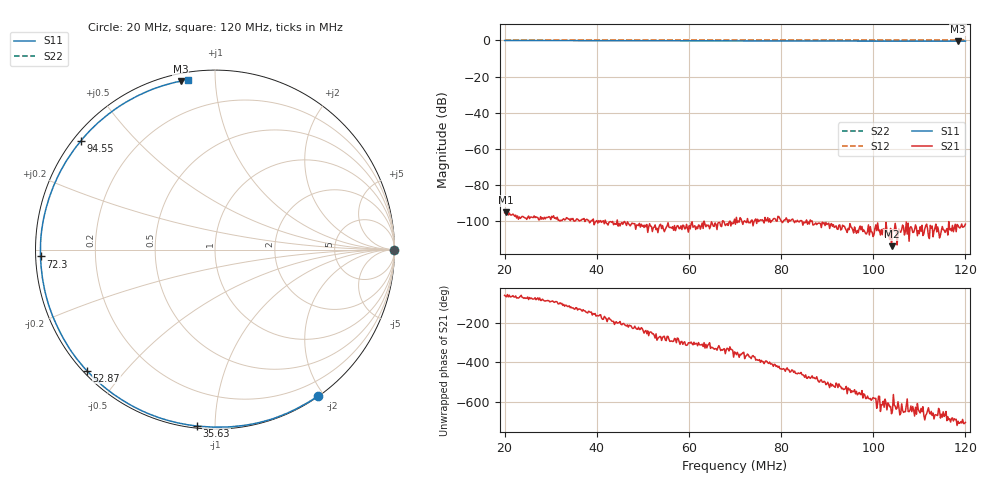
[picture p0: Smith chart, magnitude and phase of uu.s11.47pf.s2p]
! Anritsu VNA Master:  Model: MS2036C/10/77
! SN:  1601066
! /card0/usr/uu.s11.47pf.s2p
! Existing Calibration Information:
! TYPE:  Current Settings,  Active Cal Settings
! TIME:  05/23/2018 11:58:09 AM,  05/23/2018 11:36:58 AM
! INTERNAL TEMP:  48.5 C,  48.8 C
! # POINTS:  500,  500
! START FREQ:  20.000 MHz,  20.000 MHz
! STOP FREQ:  120.000 MHz,  120.000 MHz
! SOURCE POWER:  High,  High
! IFBW:  50 Hz,  50 Hz
! AVG FACTOR:  1 ,  1
! REF PLANE 1:  0 mm,  0 mm
! REF PLANE 2:  0 mm,  0 mm
! CAL TYPE:  Full S11,  Full S11
! CAL METHOD:  SOLT,  SOLT
! CAL LINE TYPE:  Coax,  Coax
! DUT PORT 1:  K-Conn(M),  K-Conn(M)
! DUT PORT 2:  K-Conn(M),  K-Conn(M)
! CAL STATUS:  OK: Accuracy High,  --
# GHZ S DB R 50.0
! FREQ.GHZ  S11DB  S11A  S21DB  S21A  S12DB  S12A  S22DB  S22A
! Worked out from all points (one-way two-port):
!   500 points, 20 MHz to 120 MHz, reference 50 ohm
!   highest |S21| = -95.03 dB at 20.2 MHz (marker M1); lowest = -113.7 dB at 104 MHz (marker M2)
!   lowest |S11| = -0.4 dB at 118.4 MHz (marker M3), VSWR 46.15, Z = 1.81 + j40.8 ohm
!   |S11| at or under -10 dB: nowhere
!   |S22| runs from 0.0 to 0.0 dB; largest |S21 - S12| = 1
!   S11 on the Smith chart (normalised r, x): 20 MHz: 0.01, -1.92; 35.63 MHz: 0.01, -0.90; 52.87 MHz: 0.01, -0.40; 72.3 MHz: 0.01, -0.02; 94.55 MHz: 0.02, +0.36; 120 MHz: 0.04, +0.85
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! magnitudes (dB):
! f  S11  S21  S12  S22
! 20 MHz  0.0  -95.3  0.0  0.0
! 20.2 MHz  0.0  -95.0  0.0  0.0
! 22.2 MHz  0.0  -97.2  0.0  0.0
! 26.61 MHz  0.0  -97.9  0.0  0.0
! 32.22 MHz  -0.1  -99.3  0.0  0.0
! 35.63 MHz  -0.1  -98.6  0.0  0.0
! 36.83 MHz  -0.1  -98.7  0.0  0.0
! 42.44 MHz  -0.1  -102.0  0.0  0.0
! 52.87 MHz  -0.2  -104.5  0.0  0.0
! 53.47 MHz  -0.2  -103.4  0.0  0.0
! 60.88 MHz  -0.2  -103.2  0.0  0.0
! 62.89 MHz  -0.2  -100.8  0.0  0.0
! 70.1 MHz  -0.2  -101.5  0.0  0.0
! 72.3 MHz  -0.2  -100.3  0.0  0.0
! 76.11 MHz  -0.2  -99.8  0.0  0.0
! 82.93 MHz  -0.3  -100.7  0.0  0.0
! 86.73 MHz  -0.3  -99.7  0.0  0.0
! 94.55 MHz  -0.3  -103.8  0.0  0.0
! 103.4 MHz  -0.4  -106.4  0.0  0.0
! 104 MHz  -0.4  -113.7  0.0  0.0
! 118.4 MHz  -0.4  -102.2  0.0  0.0
! 120 MHz  -0.4  -101.5  0.0  0.0
